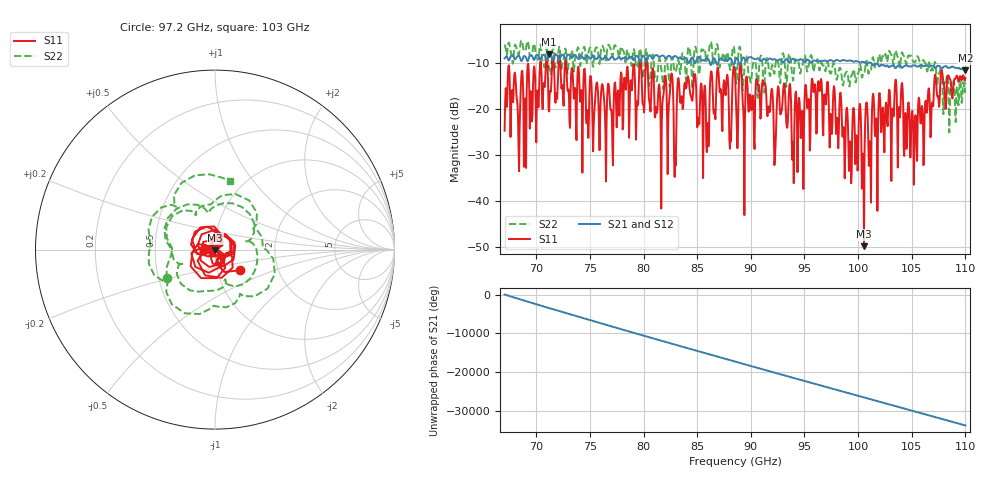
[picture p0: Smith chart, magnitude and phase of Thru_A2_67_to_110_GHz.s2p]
#  HZ  S  MA  R  50.00
! Rohde & Schwarz ZVA67 4Ports - Version 4.11 - 1305.7002k04 SN: 101051
! Date: 2023-09-13 16:01:50
! Measurements: S11 S21 S12 S22
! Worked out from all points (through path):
!   860 points, 67.05 GHz to 110 GHz, reference 50 ohm
!   highest |S21| = -8.09 dB at 71.2 GHz (marker M1); lowest = -11.6 dB at 110 GHz (marker M2)
!   lowest |S11| = -49.9 dB at 100.5 GHz (marker M3), VSWR 1.01, Z = 50.1 - j0.296 ohm
!   |S11| at or under -10 dB: start of sweep to 70.38 GHz; 72.78 GHz to 79.65 GHz (6.869 GHz wide, 9.01 % of centre); 80.35 GHz to end of sweep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
!   |S22| runs from -25.2 to -5.1 dB; largest |S21 - S12| = 0.05
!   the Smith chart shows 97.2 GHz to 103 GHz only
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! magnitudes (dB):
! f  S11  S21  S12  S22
! 67.05 GHz  -24.8  -9.0  -9.0  -6.0
! 67.35 GHz  -12.9  -9.1  -9.1  -6.5
! 68.35 GHz  -28.6  -8.4  -8.4  -8.2
! 71.2 GHz  -20.6  -8.1  -8.1  -11.3
! 74.25 GHz  -19.0  -8.6  -8.6  -8.0
! 81.4 GHz  -15.3  -8.6  -8.6  -9.9
! 82.6 GHz  -12.3  -9.0  -9.0  -9.7
! 82.95 GHz  -30.4  -8.5  -8.5  -12.0
! 84 GHz  -15.2  -9.1  -9.0  -13.3
! 85.95 GHz  -23.1  -9.0  -9.0  -8.7
! 87 GHz  -12.3  -9.7  -9.7  -8.4
! 88.05 GHz  -28.7  -8.9  -8.9  -11.3
! 88.55 GHz  -13.9  -9.4  -9.4  -10.2
! 91.25 GHz  -14.7  -9.1  -9.1  -16.5
! 92.25 GHz  -30.8  -9.2  -9.2  -11.5
! 93.05 GHz  -15.0  -9.8  -9.8  -8.2
! 93.95 GHz  -28.0  -9.1  -9.1  -13.9
! 95.7 GHz  -13.4  -9.9  -9.9  -9.0
! 100.5 GHz  -49.9  -9.8  -9.8  -11.9
! 102.8 GHz  -17.0  -10.9  -10.9  -7.6
! 105.3 GHz  -21.4  -10.6  -10.6  -9.6
! 110 GHz  -13.3  -11.6  -11.6  -14.3
